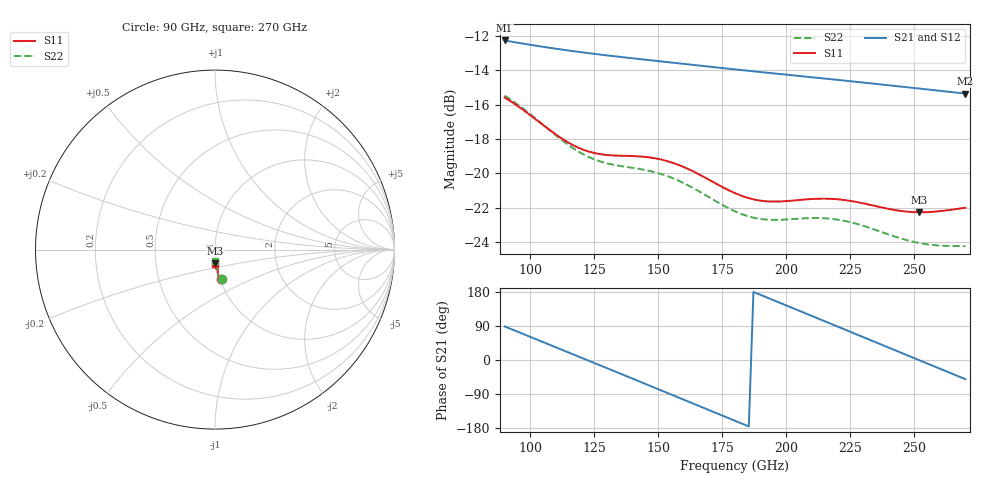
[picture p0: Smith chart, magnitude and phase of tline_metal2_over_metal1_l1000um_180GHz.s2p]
#  GHZ S DB R 50
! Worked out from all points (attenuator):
!   101 points, 90 GHz to 270 GHz, reference 50 ohm
!   highest |S21| = -12.27 dB at 90 GHz (marker M1); lowest = -15.4 dB at 270 GHz (marker M2)
!   lowest |S11| = -22.3 dB at 252 GHz (marker M3), VSWR 1.17, Z = 49.6 - j7.68 ohm
!   |S11| at or under -10 dB: start of sweep to end of sweep
!   |S22| runs from -24.2 to -15.5 dB; largest |S21 - S12| = 2.4e-13
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90  -15.59 -77.7  -12.27 88.7  -12.27 88.7  -15.48 -77.3
97.2  -16.30 -80.9  -12.45 68.8  -12.45 68.8  -16.23 -81.0
106.2  -17.32 -83.1  -12.66 44.0  -12.66 44.0  -17.32 -84.0
113.4  -18.07 -83.2  -12.82 24.2  -12.82 24.2  -18.19 -84.6
120.6  -18.62 -82.1  -12.96 4.4  -12.96 4.4  -18.88 -83.8
127.8  -18.89 -80.9  -13.10 -15.5  -13.10 -15.5  -19.33 -82.7
135  -18.98 -80.8  -13.22 -35.4  -13.22 -35.4  -19.57 -82.3
144  -19.03 -82.5  -13.37 -60.4  -13.37 -60.4  -19.78 -83.4
151.2  -19.20 -84.9  -13.49 -80.3  -13.49 -80.3  -20.04 -85.4
163.8  -19.90 -89.2  -13.69 -115.3  -13.69 -115.3  -20.87 -88.8
172.8  -20.62 -90.5  -13.84 -140.3  -13.84 -140.3  -21.65 -89.5
180  -21.16 -89.9  -13.95 -160.3  -13.95 -160.3  -22.21 -88.5
187.2  -21.52 -88.2  -14.06 179.7  -14.06 179.7  -22.58 -86.7
194.4  -21.64 -86.5  -14.17 159.7  -14.17 159.7  -22.71 -84.9
203.4  -21.58 -85.5  -14.31 134.6  -14.31 134.6  -22.66 -84.1
210.6  -21.49 -86.0  -14.42 114.6  -14.42 114.6  -22.60 -84.9
217.8  -21.49 -87.2  -14.53 94.6  -14.53 94.6  -22.65 -86.6
225  -21.61 -88.6  -14.64 74.5  -14.64 74.5  -22.85 -88.4
241.2  -22.10 -89.7  -14.89 29.5  -14.89 29.5  -23.62 -90.6
252  -22.27 -88.7  -15.07 -0.6  -15.07 -0.6  -24.06 -89.8
261  -22.19 -88.0  -15.21 -25.6  -15.21 -25.6  -24.22 -89.0
270  -22.01 -88.5  -15.36 -50.6  -15.36 -50.6  -24.24 -88.9
